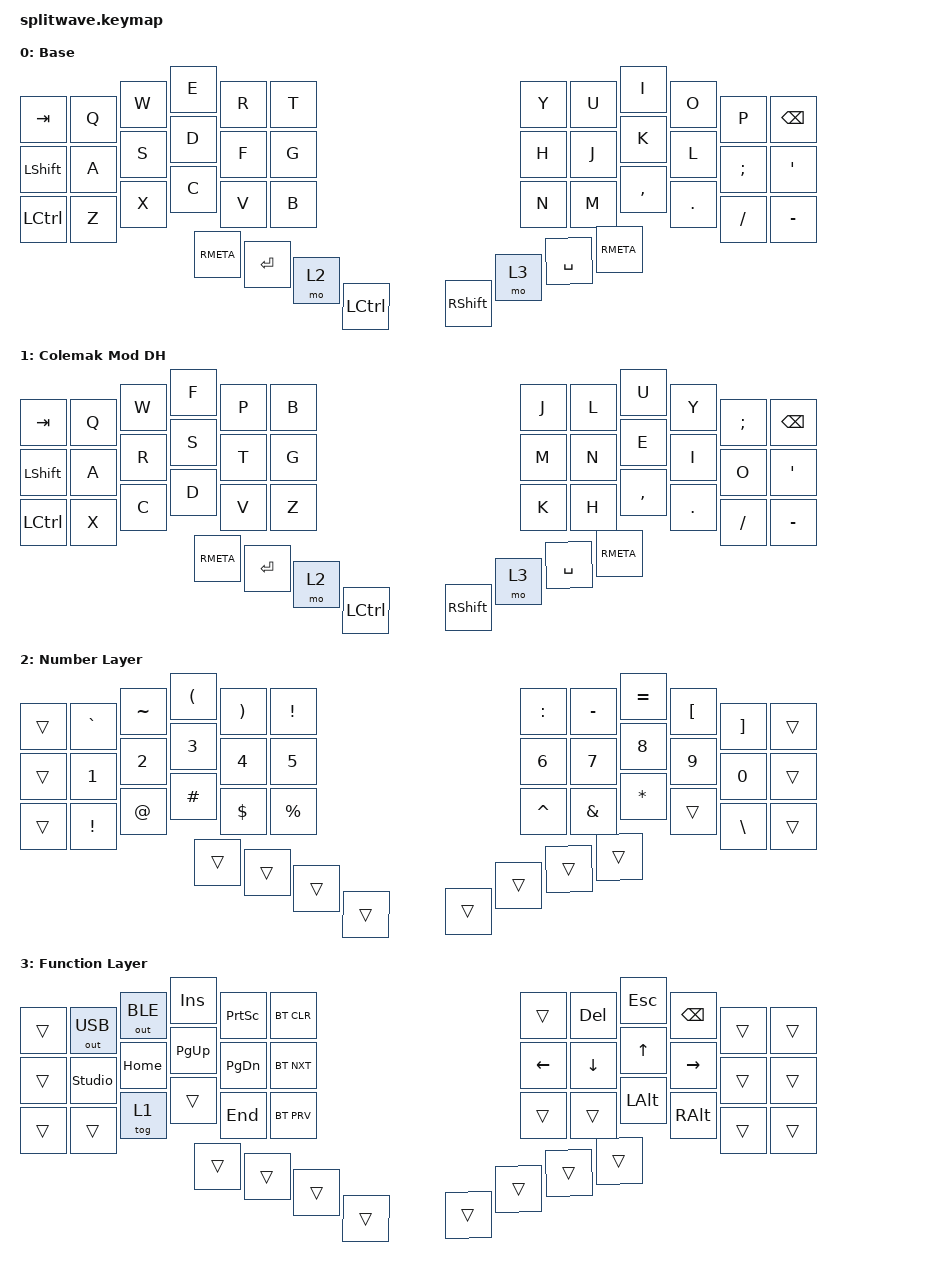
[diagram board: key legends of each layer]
/*
 * Copyright (c) 2020 The ZMK Contributors
 *
 * SPDX-License-Identifier: MIT
 */

#include <behaviors.dtsi>
#include <dt-bindings/zmk/keys.h>
#include <dt-bindings/zmk/bt.h>
#include <dt-bindings/zmk/outputs.h>

/ {
        keymap {
                compatible = "zmk,keymap";

                default_layer {
                        display-name = "Base";
// -----------------------------------------------------------------------------------------
// |  TAB |  Q  |  W  |  E  |  R  |  T  |                 |  Y  |  U   |  I  |  O  |  P  | BSPC |
// | SHFT |  A  |  S  |  D  |  F  |  G  |                 |  H  |  J   |  K  |  L  |  ;  |  '   |
// | CTRL |  Z  |  X  |  C  |  V  |  B  |                 |  N  |  M   |  ,  |  .  |  /  |  -   |
//       | META | RET | NUM_LAYER | CTRL |     | SHFT | NUM_LAYER | SPACE | META |
                        bindings = <
   &kp TAB   &kp Q &kp W &kp E &kp R &kp T         &kp Y &kp U  &kp I     &kp O   &kp P    &kp BSPC
   &kp LSHFT &kp A &kp S &kp D &kp F &kp G         &kp H &kp J  &kp K     &kp L   &kp SEMI &kp SQT
   &kp LCTRL &kp Z &kp X &kp C &kp V &kp B         &kp N &kp M  &kp COMMA &kp DOT &kp FSLH &kp MINUS
         &kp RMETA &kp RET &mo 2 &kp LCTRL         &kp RSHFT &mo 3 &kp SPACE  &kp RMETA
                        >;
                };

                colemak_mod_dh {
                        display-name = "Colemak Mod DH";
// -----------------------------------------------------------------------------------------
// |  TAB |  Q  |  W  |  F  |  P  |  B  |                 |  J  |  L   |  U  |  Y  |  ;  | BSPC |
// | SHFT |  A  |  R  |  S  |  T  |  G  |                 |  M  |  N   |  E  |  I  |  O  |  '   |
// | CTRL |  X  |  C  |  D  |  V  |  Z  |                 |  K  |  H   |  ,  |  .  |  /  |  -   |
//       | META | RET | NUM_LAYER | CTRL |     | SHFT | NUM_LAYER | SPACE | META |
                        bindings = <
   &kp TAB   &kp Q &kp W &kp F &kp P &kp B         &kp J &kp L  &kp U     &kp Y   &kp SEMI &kp BSPC
   &kp LSHFT &kp A &kp R &kp S &kp T &kp G         &kp M &kp N  &kp E     &kp I   &kp O    &kp SQT
   &kp LCTRL &kp X &kp C &kp D &kp V &kp Z         &kp K &kp H  &kp COMMA &kp DOT &kp FSLH &kp MINUS
            &kp RMETA &kp RET &mo 2 &kp LCTRL         &kp RSHFT &mo 3 &kp SPACE  &kp RMETA
                        >;
                };



                num_layer {
                        display-name = "Number Layer";
// -----------------------------------------------------------------------------------------
// |     |  `  |  ~  |  (  |  )  |  !  |                  |     |  -  |  =  |  [  |  ]  |     |
// |     |  1  |  2  |  3  |  4  |  5  |                  |  6  |  7  |  8  |  9  |  0  |     |
// |     |  !  |  @  |  #  |  #  |  $  |                  |  ^  |  &  |  *  |     |  \  |     |
//             |     |     |     |     |                  |     |     |     |     |
                        bindings = <
   &trans   &kp GRAVE &kp TILDE  &kp LPAR &kp RPAR &kp EXCL       &kp COLON &kp MINUS  &kp EQUAL   &kp LBKT   &kp RBKT   &trans
   &trans   &kp N1    &kp N2     &kp N3   &kp N4   &kp N5         &kp N6    &kp N7     &kp N8      &kp N9     &kp N0     &trans
   &trans   &kp EXCL  &kp AT     &kp HASH &kp DLLR &kp PRCNT      &kp CARET &kp AMPS   &kp STAR    &trans     &kp BSLH   &trans
             &trans &trans &trans &trans                                &trans &trans &trans &trans
                        >;
                };




                fn_layer {
                        display-name = "Function Layer";
// -----------------------------------------------------------------------------------------
// |     |     |      | INS  | PRNT |     |                  |      |      |      |       |     |     |
// |     |     | HOME | PGUP | PGDN | END |                  | LEFT | DOWN |  UP  | RIGHT |     |     |
// |     |     |      |      |      |     |                  |      |      | LALT | RALT  |     |     |
//             |      |      |      |     |                  |      |      |      |       |
                        bindings = <
   &trans &out OUT_USB   &out OUT_BLE   &kp INS   &kp PSCRN   &bt BT_CLR           &trans     &kp DEL    &kp ESC    &kp BSPC    &trans   &trans
   &trans &studio_unlock &kp HOME       &kp PG_UP &kp PG_DN   &bt BT_NXT           &kp LEFT   &kp DOWN   &kp UP     &kp RIGHT   &trans   &trans
   &trans &trans         &tog 1         &trans    &kp END     &bt BT_PRV           &trans     &trans     &kp LALT   &kp RALT    &trans   &trans
                         &trans         &trans    &trans      &trans               &trans     &trans     &trans     &trans
                        >;
                };

        };
};
